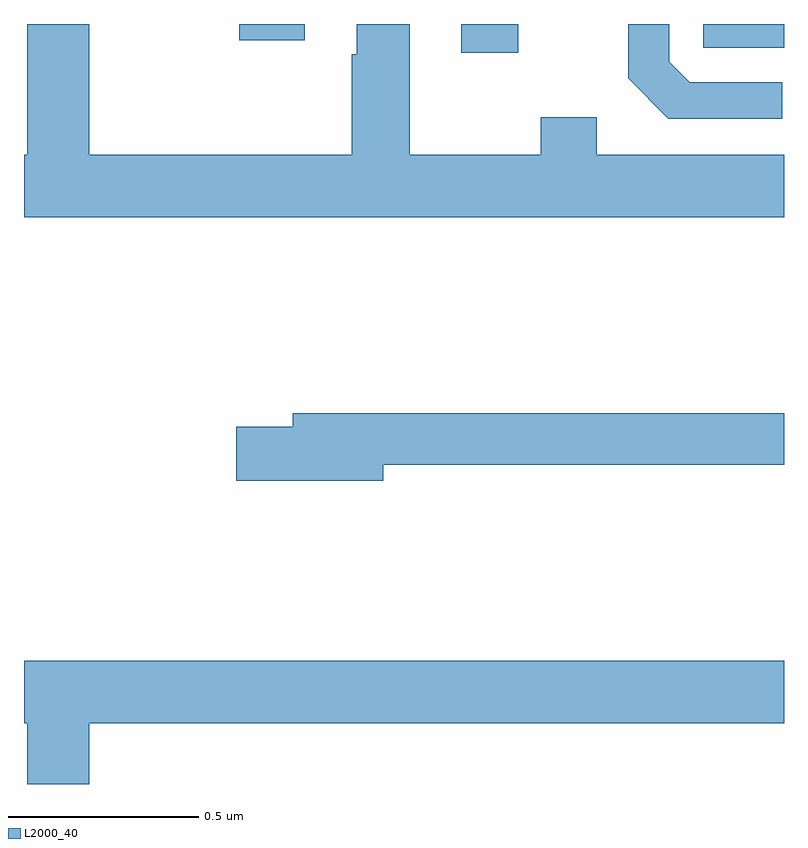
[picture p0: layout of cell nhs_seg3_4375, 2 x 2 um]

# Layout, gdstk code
import gdstk
lib = gdstk.Library(unit=1e-6, precision=1e-09)
def R(c, l, rs):  # rectangles x0, y0, x1, y1
    for r in rs: c.add(gdstk.rectangle(r[:2], r[2:], *l))
def P(c, l, *ps):  # polygons
    for p in ps: c.add(gdstk.Polygon(p, *l))
L2000_40 = (2000, 40)

nhs_seg3_4375 = lib.new_cell('nhs_seg3_4375')
R(nhs_seg3_4375, L2000_40, [(166.151,725.325,166.3,725.4), (166.788,725.337,167,725.4), (165.566,725.357,165.739,725.4)])
P(nhs_seg3_4375, L2000_40, [(167,725.056),(166.507,725.056),(166.507,725.155),(166.36,725.155),(166.36,725.056),(166.015,725.056),(166.015,725.4),(165.875,725.4),(165.875,725.321),(165.863,725.321),(165.863,725.056),(165.172,725.056),(165.172,725.4),(165.008,725.4),(165.008,725.056),(165,725.056),(165,724.892),(167,724.892)],
  [(166.996,725.247),(166.752,725.247),(166.698,725.301),(166.698,725.4),(166.59,725.4),(166.59,725.257),(166.695,725.151),(166.996,725.151)],
  [(165.946,724.24),(167,724.24),(167,724.376),(165.707,724.376),(165.707,724.34),(165.558,724.34),(165.558,724.198),(165.946,724.198)],
  [(165.172,723.56),(167,723.56),(167,723.724),(165,723.724),(165,723.56),(165.008,723.56),(165.008,723.4),(165.172,723.4)])

lib.write_gds('nhs_seg3_4375.gds')
